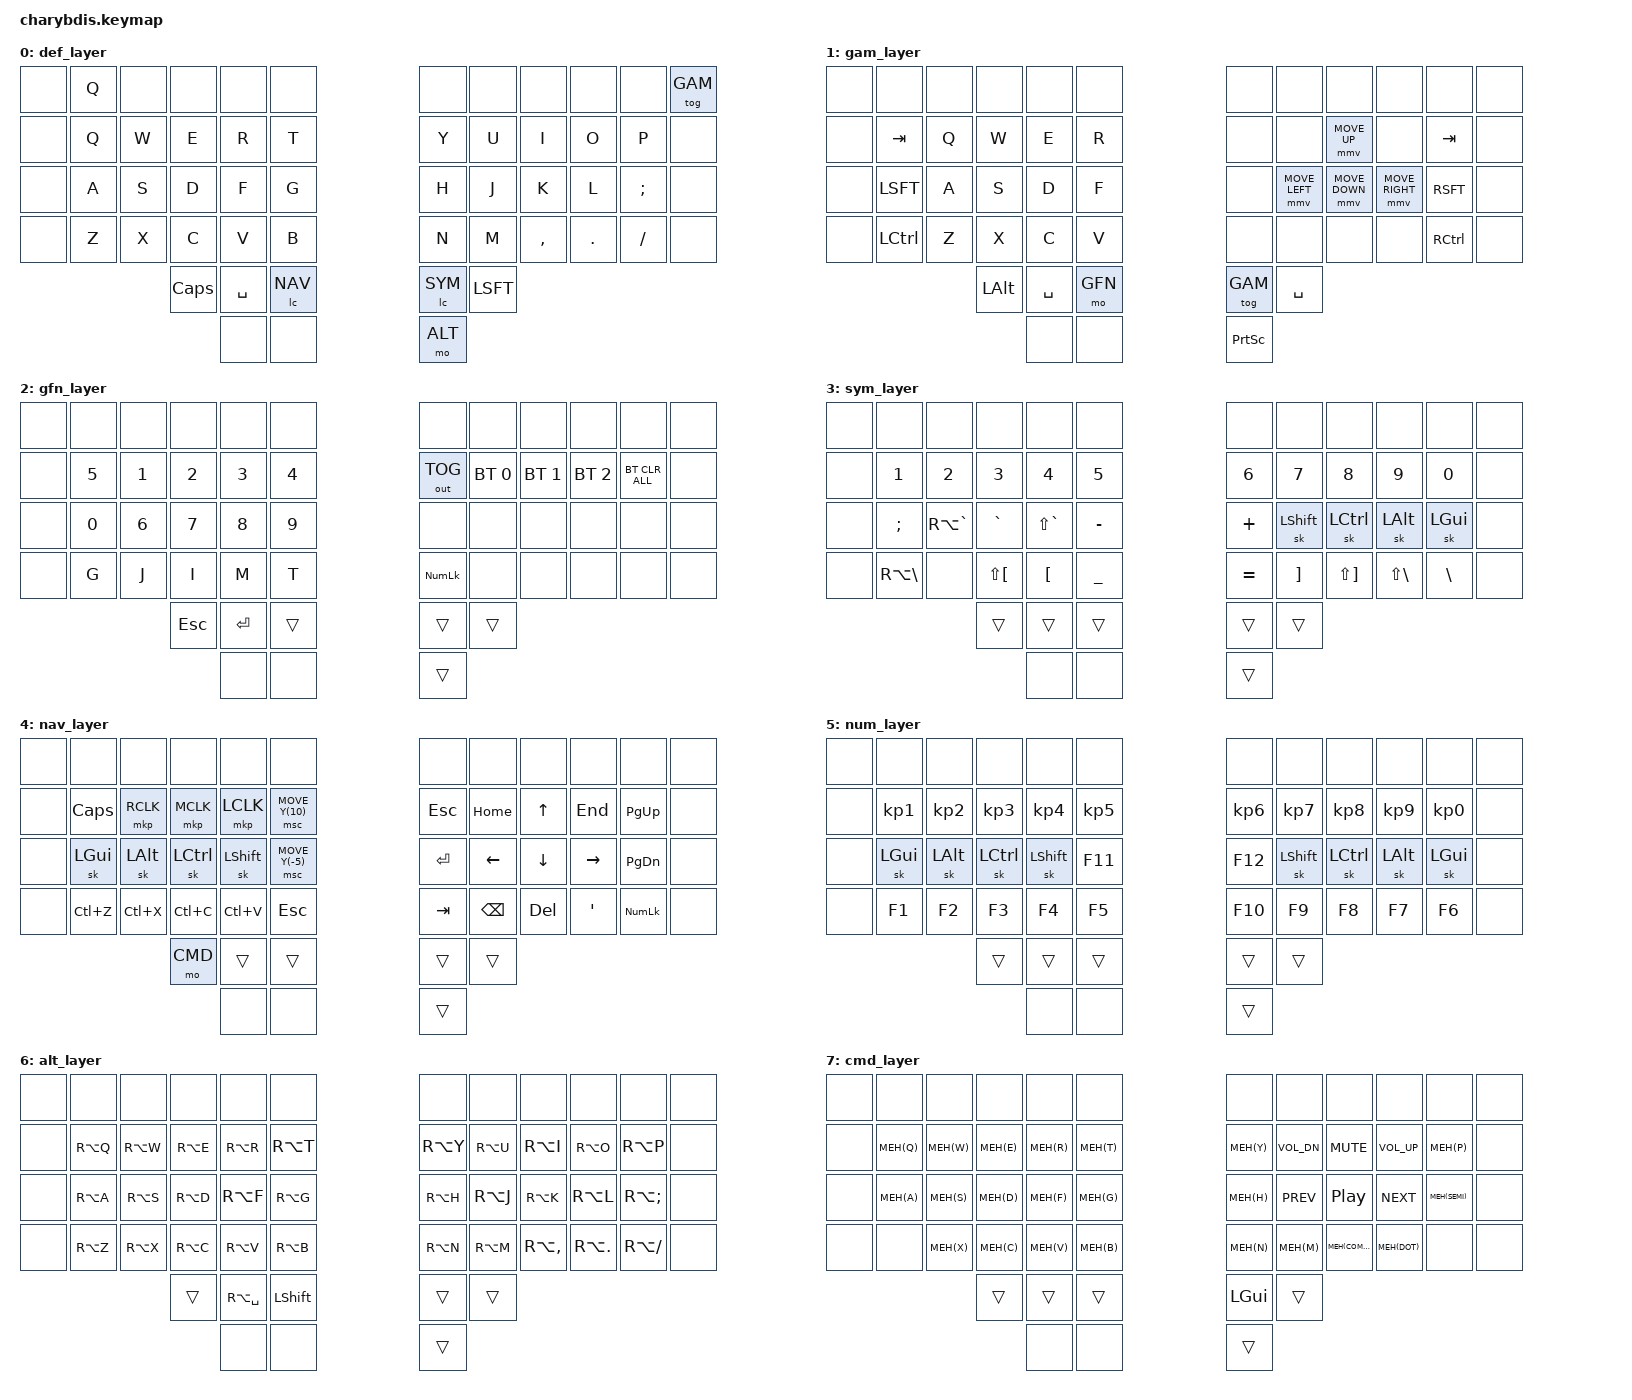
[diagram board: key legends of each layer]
#include <behaviors.dtsi>
#include <dt-bindings/zmk/bt.h>
#include <dt-bindings/zmk/keys.h>
#include <dt-bindings/zmk/outputs.h>
#include <dt-bindings/zmk/pointing.h>
#include <dt-bindings/zmk/rgb.h>
#include <dt-bindings/zmk/ext_power.h>

#define _ &kp
#define _n &none
#define _t &trans

#define DEF 0
#define GAM 1
#define GFN 2
#define SYM 3
#define NAV 4
#define NUM 5
#define ALT 6
#define CMD 7

#define MEH(key) LS(LC(LA(key)))

#define SQT GRAVE
#define DQT LS(GRAVE)
#define GRV RA(GRAVE)
#define PIP LS(BSLH)
#define BSL RA(BSLH)
#define NBSP RA(SPACE)

#define NSPC LC(LG(RIGHT))
#define PSPC LC(LG(LEFT))

&sk {
	quick-release; // Avoids "THis" problem (double capitalization)
    release-after-ms = <60000>;
};

&mmv {
    time-to-max-speed-ms = <1000>;
};

&msc {
    time-to-max-speed-ms = <600>;
};

/ {
    macros {
        To1_macro: To1_macro {
            compatible = "zmk,behavior-macro";
            label = "To1_macro";
            #binding-cells = <0>;
            bindings = <&rgb_ug RGB_EFF &rgb_ug RGB_COLOR_HSB(128,100,50) &to 1>;
        };

        To0_macro: To0_macro {
            compatible = "zmk,behavior-macro";
            label = "To0_macro";
            #binding-cells = <0>;
            bindings = <&rgb_ug RGB_EFR &to 0>;
        };

        To2_macro: To2_macro {
            compatible = "zmk,behavior-macro";
            label = "To2_macro";
            #binding-cells = <0>;
            bindings =
                <&to 4>,
                <&macro_wait_time 30>,
                <&rgb_ug RGB_COLOR_HSB(250,100,50)>;
        };

        lc: mo_layer_switch_with_an_embeded_cancel_tap_for_clearing_any_queued_sticky_mods_on_press {
            compatible = "zmk,behavior-macro-one-param";
            label = "mo_layer/cancel";
            wait-ms = <0>;
            tap-ms = <0>;
            #binding-cells = <1>;
            bindings =
            <&macro_tap>,
            <&kp K_CANCEL &macro_param_1to1>,
            <&macro_press>,
            <&mo MACRO_PLACEHOLDER>,
            <&macro_pause_for_release>,
            <&macro_param_1to1>,
            <&macro_release>,
            <&mo MACRO_PLACEHOLDER>;
        };
    };

    conditional_layers {
        compatible = "zmk,conditional-layers";
        tri_layer {
            if-layers  = <NAV SYM>;
            then-layer = <NUM>;
        };
    };

    keymap {
        compatible = "zmk,keymap";

        def_layer {
// ------------------------------------------------------------------------------------------------------------
// |       |     |     |      |      |      |                   |      |       |       |      |       |       |
// |       |  Q  |  W  |  E   |  R   |  T   |                   |  Y   |  U    |  I    |  O   |   P   |       |
// |       |  A  |  S  |  D   |  F   |  G   |                   |  H   |  J    |  K    |  L   |   ;   |       |
// |       |  Z  |  X  |  C   |  V   |  B   |  MUTE  |  |       |  N   |  M    |  ,    |  .   |   /   |       |
//               |     |      |      |      |        |  |       |      |       |       |      |
            bindings = <
_n _ Q  _n     _n     _n      _n                                _n     _n        _n       _n     _n     &tog GAM
_n _ Q  _ W    _ E    _ R     _ T                               _ Y    _ U       _ I      _ O    _ P    _n
_n _ A  _ S    _ D    _ F     _ G                               _ H    _ J       _ K      _ L    _ SEMI _n
_n _ Z  _ X    _ C    _ V     _ B                               _ N    _ M       _ COMMA  _ DOT  _ FSLH _n
               _ CAPS _ SPACE &lc NAV                           &lc SYM _ LSFT   
                      _n      _n                                &mo ALT         
            >;

        };

        gam_layer {
            bindings = <
_n _n           _n           _n           _n          _n              _n           _n           _n           _n          _n      _n            
_n _ TAB        _ Q          _ W          _ E         _ R             _n           _n           &mmv MOVE_UP         _n          _ TAB   _n
_n _ LSFT       _ A          _ S          _ D         _ F             _n           &mmv MOVE_LEFT &mmv MOVE_DOWN &mmv MOVE_RIGHT _ RSFT  _n
_n _ LCTRL      _ Z          _ X          _ C         _ V             _n           _n           _n           _n          _ RCTRL _n 
                            _ LALT       _ SPACE     &mo GFN         &tog GAM     _ SPACE          
                                         _n          _n              _ PSCRN
            >;
        };

        gfn_layer {
            bindings = <
_n _n           _n           _n           _n          _n              _n           _n           _n           _n          _n              _n
_n _ N5         _ N1         _ N2         _ N3        _ N4            &out OUT_TOG &bt BT_SEL 0 &bt BT_SEL 1 &bt BT_SEL 2 &bt BT_CLR_ALL _n
_n _ N0         _ N6         _ N7         _ N8        _ N9            _n           _n          _n          _n           _n               _n
_n _ G          _ J          _ I          _ M         _ T             _ KP_NUM     _n          _n          _n           _n               _n
                             _ ESC        _ RET       _t              _t           _t          
                                          _n          _n              _t  
            >;
        };

        sym_layer {
            bindings = <
_n _n           _n           _n           _n          _n              _n           _n           _n           _n           _n         _n
_n _ N1         _ N2         _ N3         _ N4        _ N5            _ N6         _ N7         _ N8         _ N9         _ N0       _n
_n _ SEMI       _ GRV        _ SQT        _ DQT       _ MINUS         _ PLUS       &sk LSHFT    &sk LCTRL    &sk LALT     &sk LGUI   _n
_n _ BSL        _n           _ LS(LBKT)   _ LBKT      _ UNDER         _ EQUAL      _ RBKT       _ LS(RBKT)   _ PIP        _ BSLH     _n
                             _t           _t          _t              _t           _t           
                                          _n          _n              _t
            >;
        };

        nav_layer {
            bindings = <
_n _n           _n           _n           _n          _n                            _n           _n           _n           _n           _n         _n
_n _ CAPS       &mkp RCLK    &mkp MCLK    &mkp LCLK   &msc MOVE_Y(10)       _ ESC        _ HOME       _ UP         _ END        _ PG_UP    _n           
_n &sk LGUI     &sk LALT     &sk LCTRL    &sk LSHFT   &msc MOVE_Y(-5)    _ RET        _ LEFT       _ DOWN       _ RIGHT      _ PG_DN    _n
_n _ LC(Z)       _ LC(X)     _ LC(C)      _ LC(V)     _ ESC                         _ TAB        _ BSPC       _ DEL        _ APOS       _ KP_NUM   _n        
                             &mo CMD      _t          _t                            _t           _t
                                           _n         _n                            _t
            >;
        };

        num_layer {
            bindings = <
_n _n           _n           _n           _n          _n              _n           _n           _n           _n           _n         _n
_n _ KP_N1      _ KP_N2      _ KP_N3      _ KP_N4     _ KP_N5         _ KP_N6      _ KP_N7      _ KP_N8      _ KP_N9      _ KP_N0    _n
_n &sk LGUI     &sk LALT     &sk LCTRL    &sk LSHFT   _ F11           _ F12        &sk LSHFT    &sk LCTRL    &sk LALT     &sk LGUI   _n
_n _ F1         _ F2         _ F3         _ F4        _ F5            _ F10        _ F9         _ F8         _ F7         _ F6       _n
                             _t           _t          _t              _t           _t           
                                          _n          _n              _t
            >;
        };

        alt_layer {
            bindings = <
_n _n           _n           _n           _n          _n              _n           _n           _n           _n           _n         _n
_n _ RA(Q)      _ RA(W)      _ RA(E)      _ RA(R)     _ RA(T)         _ RA(Y)      _ RA(U)      _ RA(I)      _ RA(O)      _ RA(P)    _n
_n _ RA(A)      _ RA(S)      _ RA(D)      _ RA(F)     _ RA(G)         _ RA(H)      _ RA(J)      _ RA(K)      _ RA(L)      _ RA(SEMI) _n
_n _ RA(Z)      _ RA(X)      _ RA(C)      _ RA(V)     _ RA(B)         _ RA(N)      _ RA(M)      _ RA(COMMA)  _ RA(DOT)    _ RA(FSLH) _n
                             _t           _ NBSP      _ LSHFT         _t           _t           
                                          _n          _n              _t
            >;
        };

        cmd_layer {
            bindings = <
_n _n           _n           _n           _n          _n              _n           _n           _n           _n           _n          _n
_n _ MEH(Q)     _ MEH(W)     _ MEH(E)     _ MEH(R)    _ MEH(T)        _ MEH(Y)     _ C_VOL_DN   _ C_MUTE     _ C_VOL_UP   _ MEH(P)    _n
_n _ MEH(A)     _ MEH(S)     _ MEH(D)     _ MEH(F)    _ MEH(G)        _ MEH(H)     _ C_PREV     _ C_PP       _ C_NEXT     _ MEH(SEMI) _n
_n _n           _ MEH(X)     _ MEH(C)     _ MEH(V)    _ MEH(B)        _ MEH(N)     _ MEH(M)     _ MEH(COMMA) _ MEH(DOT)   _n          _n
                             _t           _t          _t              _ LGUI       _t           
                                          _n          _n              _t
            >;
        };

    };
    
};
